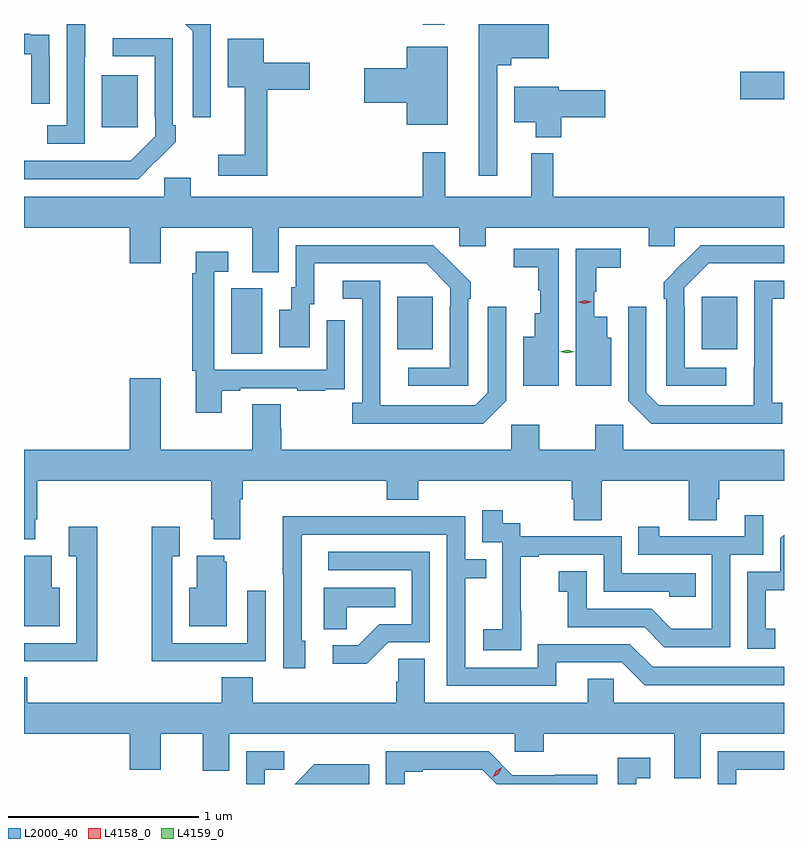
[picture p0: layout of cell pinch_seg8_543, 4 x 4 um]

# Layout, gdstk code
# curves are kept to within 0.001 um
import gdstk
lib = gdstk.Library(unit=1e-6, precision=1e-09)
def R(c, l, rs):  # rectangles x0, y0, x1, y1
    for r in rs: c.add(gdstk.rectangle(r[:2], r[2:], *l))
def P(c, l, *ps):  # polygons
    for p in ps: c.add(gdstk.Polygon(p, *l))
L2000_40 = (2000, 40)
L4158_0 = (4158, 0)
L4159_0 = (4159, 0)

pinch_seg8_543 = lib.new_cell('pinch_seg8_543')
R(pinch_seg8_543, L2000_40, [(141.566,1109.176,141.73,1109.52), (142.439,1109.201,142.627,1109.476), (144.041,1109.201,144.229,1109.476), (140.885,1110.369,141.073,1110.643), (144.246,1110.515,144.475,1110.662), (142.573,1110.909,142.69,1110.912)])
P(pinch_seg8_543, L2000_40, [(142.965,1110.695),(143.039,1110.695),(143.039,1110.731),(143.238,1110.731),(143.238,1110.912),(142.868,1110.912),(142.868,1110.114),(142.965,1110.114)],
  [(141.459,1110.912),(141.324,1110.912),(141.363,1110.873),(141.363,1110.42),(141.459,1110.42)],
  [(140.796,1110.739),(140.797,1110.739),(140.797,1110.912),(140.7,1110.912),(140.7,1110.378),(140.598,1110.378),(140.598,1110.282),(140.796,1110.282)],
  [(140.61,1110.746),(140.609,1110.746),(140.609,1110.855),(140.507,1110.855),(140.507,1110.862),(140.475,1110.862),(140.475,1110.753),(140.514,1110.753),(140.514,1110.492),(140.61,1110.492)],
  [(141.167,1110.187),(141.168,1110.186),(141.273,1110.291),(141.273,1110.379),(141.258,1110.379),(141.258,1110.837),(140.943,1110.837),(140.943,1110.741),(141.162,1110.741),(141.162,1110.421),(141.165,1110.421),(141.165,1110.321),(141.037,1110.193),(140.475,1110.192),(140.475,1110.096),(141.076,1110.096)],
  [(141.755,1110.566),(141.979,1110.566),(141.979,1110.708),(141.736,1110.708),(141.736,1110.835),(141.548,1110.835),(141.548,1110.578),(141.638,1110.578),(141.638,1110.223),(141.498,1110.223),(141.498,1110.114),(141.755,1110.114)],
  [(142.705,1110.793),(142.49,1110.793),(142.49,1110.68),(142.266,1110.68),(142.266,1110.497),(142.49,1110.497),(142.49,1110.383),(142.705,1110.383)],
  [(143.303,1110.421),(143.533,1110.421),(143.533,1110.563),(143.29,1110.563),(143.29,1110.583),(143.054,1110.583),(143.054,1110.395),(143.168,1110.395),(143.168,1110.317),(143.303,1110.317)],
  [(141.817,1109.84),(142.767,1109.84),(142.767,1109.742),(142.906,1109.742),(142.906,1109.84),(143.762,1109.84),(143.762,1109.742),(143.901,1109.742),(143.901,1109.84),(144.475,1109.84),(144.475,1110.004),(143.261,1110.004),(143.261,1110.232),(143.144,1110.232),(143.144,1110.004),(142.691,1110.004),(142.691,1110.238),(142.573,1110.238),(142.573,1110.004),(141.352,1110.004),(141.352,1110.102),(141.213,1110.102),(141.213,1110.004),(140.475,1110.004),(140.475,1109.84),(141.032,1109.84),(141.032,1109.652),(141.196,1109.652),(141.196,1109.84),(141.677,1109.84),(141.677,1109.605),(141.817,1109.605)],
  [(144.172,1109.103),(143.952,1109.103),(143.952,1109.423),(143.949,1109.423),(143.949,1109.523),(144.078,1109.652),(144.475,1109.652),(144.475,1109.748),(144.038,1109.748),(143.841,1109.553),(143.841,1109.465),(143.856,1109.465),(143.856,1109.007),(144.172,1109.007)],
  [(142.812,1109.465),(142.827,1109.465),(142.827,1109.553),(142.63,1109.748),(141.906,1109.748),(141.906,1109.526),(141.881,1109.526),(141.881,1109.407),(141.818,1109.407),(141.818,1109.211),(141.979,1109.211),(141.979,1109.436),(142.003,1109.436),(142.003,1109.652),(142.591,1109.652),(142.719,1109.523),(142.719,1109.423),(142.716,1109.423),(142.716,1109.103),(142.497,1109.103),(142.497,1109.007),(142.812,1109.007)],
  [(143.29,1109.262),(143.289,1109.262),(143.289,1109.73),(143.052,1109.73),(143.052,1109.632),(143.181,1109.632),(143.181,1109.511),(143.192,1109.511),(143.192,1109.389),(143.162,1109.389),(143.162,1109.266),(143.102,1109.266),(143.102,1109.009),(143.29,1109.009)],
  [(143.566,1109.262),(143.545,1109.262),(143.545,1109.371),(143.477,1109.371),(143.477,1109.502),(143.488,1109.502),(143.488,1109.629),(143.617,1109.629),(143.617,1109.73),(143.379,1109.73),(143.379,1109.262),(143.378,1109.262),(143.378,1109.009),(143.566,1109.009)],
  [(141.517,1108.983),(141.613,1108.983),(141.613,1108.995),(141.913,1108.995),(141.913,1108.983),(142.061,1108.983),(142.061,1108.989),(142.163,1108.989),(142.163,1109.098),(142.164,1109.098),(142.164,1109.353),(142.068,1109.353),(142.068,1109.091),(141.477,1109.091),(141.477,1109.607),(141.55,1109.607),(141.55,1109.713),(141.38,1109.713),(141.38,1109.6),(141.361,1109.6),(141.361,1109.088),(141.38,1109.088),(141.38,1108.866),(141.517,1108.866)],
  [(144.466,1108.918),(144.414,1108.918),(144.414,1109.466),(144.475,1109.466),(144.475,1109.562),(144.318,1109.562),(144.317,1108.905),(143.817,1108.905),(143.751,1108.971),(143.751,1109.425),(143.655,1109.425),(143.655,1108.929),(143.776,1108.808),(144.466,1108.808)],
  [(143.013,1108.929),(143.013,1109.425),(142.917,1109.425),(142.917,1108.971),(142.851,1108.905),(142.351,1108.905),(142.35,1109.562),(142.152,1109.562),(142.152,1109.466),(142.254,1109.466),(142.254,1108.918),(142.203,1108.918),(142.203,1108.808),(142.892,1108.808)],
  [(140.533,1108.306),(140.546,1108.306),(140.546,1108.508),(141.461,1108.508),(141.461,1108.306),(141.473,1108.306),(141.473,1108.199),(141.613,1108.199),(141.613,1108.412),(141.626,1108.412),(141.626,1108.508),(142.385,1108.508),(142.385,1108.409),(142.55,1108.409),(142.55,1108.508),(143.357,1108.508),(143.357,1108.41),(143.369,1108.41),(143.369,1108.3),(143.517,1108.3),(143.517,1108.508),(143.974,1108.508),(143.974,1108.3),(144.121,1108.3),(144.121,1108.41),(144.134,1108.41),(144.134,1108.508),(144.475,1108.508),(144.475,1108.672),(143.628,1108.672),(143.628,1108.804),(143.482,1108.804),(143.482,1108.672),(143.187,1108.672),(143.187,1108.804),(143.04,1108.804),(143.04,1108.672),(141.83,1108.672),(141.83,1108.785),(141.825,1108.785),(141.825,1108.91),(141.677,1108.91),(141.677,1108.672),(141.196,1108.672),(141.196,1109.047),(141.032,1109.047),(141.032,1108.672),(140.475,1108.672),(140.475,1108.199),(140.533,1108.199)],
  [(143.091,1107.823),(143.09,1107.823),(143.09,1108.107),(143.185,1108.107),(143.185,1108.119),(143.526,1108.119),(143.526,1107.924),(143.871,1107.924),(143.871,1107.897),(144.011,1107.897),(144.011,1108.02),(143.622,1108.02),(143.622,1108.215),(143.088,1108.215),(143.088,1108.284),(142.996,1108.284),(142.996,1108.354),(142.887,1108.354),(142.887,1108.185),(142.992,1108.185),(142.992,1107.956),(142.991,1107.956),(142.991,1107.727),(142.893,1107.727),(142.893,1107.617),(143.091,1107.617)],
  [(144.192,1108.119),(144.366,1108.119),(144.366,1108.327),(144.269,1108.327),(144.269,1108.215),(143.818,1108.215),(143.818,1108.267),(143.707,1108.267),(143.707,1108.119),(144.096,1108.119),(144.096,1107.73),(143.882,1107.73),(143.778,1107.834),(143.436,1107.834),(143.436,1108.033),(143.289,1108.033),(143.289,1107.923),(143.338,1107.923),(143.338,1107.738),(143.741,1107.738),(143.846,1107.633),(144.192,1107.633)],
  [(143.275,1107.552),(143.622,1107.552),(143.742,1107.432),(144.475,1107.432),(144.475,1107.528),(143.784,1107.528),(143.664,1107.648),(143.178,1107.648),(143.178,1107.525),(142.797,1107.525),(142.797,1107.994),(142.907,1107.994),(142.907,1108.095),(142.797,1108.095),(142.797,1108.32),(142.301,1108.32),(142.301,1108.322),(141.838,1108.322),(141.838,1108.015),(141.84,1108.015),(141.84,1107.522),(141.955,1107.522),(141.955,1107.666),(141.936,1107.666),(141.936,1108.224),(142.701,1108.224),(142.701,1107.429),(143.275,1107.429)],
  [(141.431,1107.558),(141.747,1107.558),(141.747,1107.928),(141.651,1107.928),(141.651,1107.654),(141.255,1107.654),(141.255,1108.111),(141.295,1108.111),(141.295,1108.267),(141.147,1108.267),(141.147,1107.557),(141.431,1107.557)],
  [(140.86,1108.267),(140.711,1108.267),(140.711,1108.111),(140.751,1108.111),(140.751,1107.654),(140.475,1107.654),(140.475,1107.558),(140.575,1107.558),(140.575,1107.557),(140.86,1107.557)],
  [(144.428,1107.729),(144.379,1107.729),(144.379,1107.933),(144.475,1107.933),(144.475,1108.225),(144.456,1108.206),(144.456,1108.029),(144.282,1108.029),(144.282,1107.624),(144.428,1107.624)],
  [(142.392,1107.657),(142.611,1107.657),(142.611,1108.134),(142.077,1108.134),(142.077,1108.038),(142.515,1108.038),(142.515,1107.753),(142.346,1107.753),(142.235,1107.642),(142.101,1107.642),(142.101,1107.545),(142.279,1107.545)],
  [(140.662,1107.946),(140.62,1107.946),(140.62,1108.114),(140.477,1108.114),(140.477,1108.083),(140.475,1108.083),(140.475,1107.743),(140.662,1107.743)],
  [(141.541,1108.083),(141.53,1108.083),(141.53,1108.114),(141.383,1108.114),(141.383,1107.946),(141.344,1107.946),(141.344,1107.743),(141.541,1107.743)],
  [(142.173,1107.842),(142.43,1107.842),(142.43,1107.946),(142.052,1107.946),(142.052,1107.727),(142.173,1107.727)],
  [(140.492,1107.473),(140.475,1107.473),(140.475,1107.176),(141.032,1107.176),(141.032,1106.988),(141.196,1106.988),(141.196,1107.176),(141.416,1107.176),(141.416,1106.982),(141.556,1106.982),(141.556,1107.176),(143.058,1107.176),(143.058,1107.083),(143.21,1107.083),(143.21,1107.176),(143.897,1107.176),(143.897,1106.941),(144.037,1106.941),(144.037,1107.176),(144.475,1107.176),(144.475,1107.34),(143.58,1107.34),(143.58,1107.467),(143.441,1107.467),(143.441,1107.34),(142.585,1107.34),(142.585,1107.572),(142.446,1107.572),(142.446,1107.449),(142.433,1107.449),(142.433,1107.34),(141.68,1107.34),(141.68,1107.473),(141.515,1107.473),(141.515,1107.34),(140.492,1107.34)],
  [(141.741,1106.988),(141.844,1106.988),(141.844,1107.084),(141.645,1107.084),(141.645,1106.912),(141.741,1106.912)],
  [(142.479,1106.976),(142.573,1106.976),(142.573,1106.988),(142.887,1106.988),(142.963,1106.912),(143.491,1106.912),(143.491,1106.96),(143.268,1106.96),(143.268,1106.958),(143.046,1106.958),(142.92,1107.084),(142.38,1107.084),(142.38,1106.912),(142.479,1106.912)],
  [(144.223,1106.988),(144.475,1106.988),(144.475,1107.084),(144.126,1107.084),(144.126,1106.912),(144.223,1106.912)],
  [(143.697,1106.943),(143.77,1106.943),(143.77,1107.049),(143.601,1107.049),(143.601,1106.912),(143.697,1106.912)],
  [(142.291,1107.016),(142.003,1107.016),(141.923,1106.935),(141.9,1106.912),(142.291,1106.912)])
P(pinch_seg8_543, L4158_0, [(143.428,1109.439),(143.392,1109.448),(143.392,1109.448),(143.392,1109.448),(143.427,1109.459),(143.462,1109.451),(143.463,1109.451),(143.462,1109.451)],
  [(142.941,1106.947),(142.941,1106.948),(142.958,1106.98),(142.99,1106.999),(142.99,1106.999),(142.99,1106.999),(142.973,1106.966),(142.941,1106.947)])
P(pinch_seg8_543, L4159_0, [(143.334,1109.178),(143.294,1109.188),(143.294,1109.188),(143.294,1109.188),(143.334,1109.198),(143.374,1109.188),(143.374,1109.188),(143.374,1109.188)])

lib.write_gds('pinch_seg8_543.gds')
